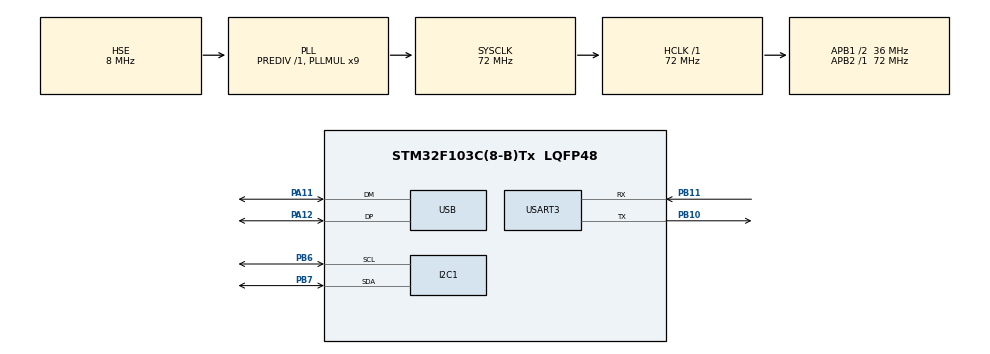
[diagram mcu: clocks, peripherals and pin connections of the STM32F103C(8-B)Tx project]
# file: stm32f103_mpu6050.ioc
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Mcu.Family=STM32F1
Mcu.Name=STM32F103C(8-B)Tx
Mcu.Package=LQFP48
NVIC.I2C1_ER_IRQn=true\:0\:0\:false\:false\:true\:true\:true\:true
NVIC.I2C1_EV_IRQn=true\:0\:0\:false\:false\:true\:true\:true\:true
NVIC.PriorityGroup=NVIC_PRIORITYGROUP_4
NVIC.TIM1_UP_IRQn=true\:0\:0\:false\:false\:true\:true\:true\:true
NVIC.USB_HP_CAN1_TX_IRQn=true\:0\:0\:false\:false\:true\:true\:true\:true
NVIC.USB_LP_CAN1_RX0_IRQn=true\:0\:0\:false\:false\:true\:false\:true\:true
PA11.Mode=Device
PA11.Signal=USB_DM
PA12.Mode=Device
PA12.Signal=USB_DP
PA13.Mode=Serial_Wire
PA13.Signal=SYS_JTMS-SWDIO
PA14.Mode=Serial_Wire
PA14.Signal=SYS_JTCK-SWCLK
PB10.Mode=Asynchronous
PB10.Signal=USART3_TX
PB11.Mode=Asynchronous
PB11.Signal=USART3_RX
PB6.Mode=I2C
PB6.Signal=I2C1_SCL
PB7.Mode=I2C
PB7.Signal=I2C1_SDA
PD0-OSC_IN.Mode=HSE-External-Oscillator
PD0-OSC_IN.Signal=RCC_OSC_IN
PD1-OSC_OUT.Mode=HSE-External-Oscillator
PD1-OSC_OUT.Signal=RCC_OSC_OUT
ProjectManager.HeapSize=0x200
ProjectManager.StackSize=0x400
ProjectManager.TargetToolchain=STM32CubeIDE
RCC.AHBFreq_Value=72000000
RCC.APB1CLKDivider=RCC_HCLK_DIV2
RCC.APB1Freq_Value=36000000
RCC.APB1TimFreq_Value=72000000
RCC.APB2Freq_Value=72000000
RCC.APB2TimFreq_Value=72000000
RCC.HCLKFreq_Value=72000000
RCC.PLLMUL=RCC_PLL_MUL9
RCC.SYSCLKFreq_VALUE=72000000
RCC.SYSCLKSource=RCC_SYSCLKSOURCE_PLLCLK
RCC.USBFreq_Value=48000000
RCC.USBPrescaler=RCC_USBCLKSOURCE_PLL_DIV1_5
USART3.VirtualMode=VM_ASYNC
USB_DEVICE.CLASS_NAME_FS=CDC
USB_DEVICE.VirtualMode=Cdc
USB_DEVICE.VirtualModeFS=Cdc_FS
VP_TIM1_VS_ClockSourceINT.Mode=Internal
VP_USB_DEVICE_VS_USB_DEVICE_CDC_FS.Mode=CDC_FS
board=custom

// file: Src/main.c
/* USER CODE BEGIN Header */
/**
  ******************************************************************************
  * @file           : main.c
  * @brief          : Main program body
  ******************************************************************************
  * @attention
  *
  * Copyright (c) 2023 STMicroelectronics.
  * All rights reserved.
  *
  * This software is licensed under terms that can be found in the LICENSE file
  * in the root directory of this software component.
  * If no LICENSE file comes with this software, it is provided AS-IS.
  *
  ******************************************************************************
  */
/* USER CODE END Header */
#include "main.h"
#include "usb_device.h"
#include "sd_hal_mpu6050.h"

I2C_HandleTypeDef hi2c1;

TIM_HandleTypeDef htim1;

UART_HandleTypeDef huart3;

void SystemClock_Config(void);
static void MX_GPIO_Init(void);
static void MX_I2C1_Init(void);
static void MX_TIM1_Init(void);
static void MX_USART3_UART_Init(void);

/* USER CODE BEGIN 0 */
SD_MPU6050 mpu1;
/* USER CODE END 0 */

int main(void)
{
  /* USER CODE BEGIN 1 */
	SD_MPU6050_Result result;

	uint8_t gonder[30];

  /* USER CODE END 1 */

  /* MCU Configuration--------------------------------------------------------*/

  /* Reset of all peripherals, Initializes the Flash interface and the Systick. */
  HAL_Init();

  /* Configure the system clock */
  SystemClock_Config();

  /* Initialize all configured peripherals */
  MX_GPIO_Init();
  MX_I2C1_Init();
  MX_USB_DEVICE_Init();
  MX_TIM1_Init();
  MX_USART3_UART_Init();
  /* USER CODE BEGIN 2 */
	//HAL_TIM_PWM_Start(&htim1,TIM_CHANNEL_1);
//HAL_Delay(3000);
		//CDC_Transmit_FS(gonder,sizeof(gonder));
  /* USER CODE END 2 */

  /* Infinite loop */
  /* USER CODE BEGIN WHILE */
  while (1)
  {
		float temp;
    result = SD_MPU6050_Init(&hi2c1,&mpu1,SD_MPU6050_Device_0,SD_MPU6050_Accelerometer_2G,SD_MPU6050_Gyroscope_250s);

		if(result == SD_MPU6050_Result_Ok)
		{
			HAL_Delay(50);
			/* USER CODE END WHILE */

			/* USER CODE BEGIN 3 */
			SD_MPU6050_ReadAccelerometer(&hi2c1,&mpu1);
			int16_t a_x = mpu1.Accelerometer_X;
			int16_t a_y = mpu1.Accelerometer_Y;
			int16_t a_z = mpu1.Accelerometer_Z;
			/* USER CODE END WHILE */
			sprintf((char *)gonder,"%d\t%d\t%d\n",a_x,a_y,a_z);
			//CDC_Transmit_FS(gonder,sizeof(gonder));
			HAL_UART_Transmit(&huart3, gonder, strlen((char *)gonder), 200);
			HAL_Delay(200);
			SD_MPU6050_ReadTemperature(&hi2c1,&mpu1);
			temp = mpu1.Temperature;
			sprintf((char *)gonder,"temp=%.2f\n",temp);
			HAL_UART_Transmit(&huart3, gonder, strlen((char *)gonder), 1000);
			//CDC_Transmit_FS(gonder,sizeof(gonder));
		}
    /* USER CODE BEGIN 3 */
  }
  /* USER CODE END 3 */
}

void SystemClock_Config(void)
{
  RCC_OscInitTypeDef RCC_OscInitStruct = {0};
  RCC_ClkInitTypeDef RCC_ClkInitStruct = {0};
  RCC_PeriphCLKInitTypeDef PeriphClkInit = {0};

  /** Initializes the RCC Oscillators according to the specified parameters
  * in the RCC_OscInitTypeDef structure.
  */
  RCC_OscInitStruct.OscillatorType = RCC_OSCILLATORTYPE_HSE;
  RCC_OscInitStruct.HSEState = RCC_HSE_ON;
  RCC_OscInitStruct.HSEPredivValue = RCC_HSE_PREDIV_DIV1;
  RCC_OscInitStruct.HSIState = RCC_HSI_ON;
  RCC_OscInitStruct.PLL.PLLState = RCC_PLL_ON;
  RCC_OscInitStruct.PLL.PLLSource = RCC_PLLSOURCE_HSE;
  RCC_OscInitStruct.PLL.PLLMUL = RCC_PLL_MUL9;
  if (HAL_RCC_OscConfig(&RCC_OscInitStruct) != HAL_OK)
  {
    Error_Handler();
  }

  /** Initializes the CPU, AHB and APB buses clocks
  */
  RCC_ClkInitStruct.ClockType = RCC_CLOCKTYPE_HCLK|RCC_CLOCKTYPE_SYSCLK
                              |RCC_CLOCKTYPE_PCLK1|RCC_CLOCKTYPE_PCLK2;
  RCC_ClkInitStruct.SYSCLKSource = RCC_SYSCLKSOURCE_PLLCLK;
  RCC_ClkInitStruct.AHBCLKDivider = RCC_SYSCLK_DIV1;
  RCC_ClkInitStruct.APB1CLKDivider = RCC_HCLK_DIV2;
  RCC_ClkInitStruct.APB2CLKDivider = RCC_HCLK_DIV1;

  if (HAL_RCC_ClockConfig(&RCC_ClkInitStruct, FLASH_LATENCY_2) != HAL_OK)
  {
    Error_Handler();
  }
  PeriphClkInit.PeriphClockSelection = RCC_PERIPHCLK_USB;
  PeriphClkInit.UsbClockSelection = RCC_USBCLKSOURCE_PLL_DIV1_5;
  if (HAL_RCCEx_PeriphCLKConfig(&PeriphClkInit) != HAL_OK)
  {
    Error_Handler();
  }
}

static void MX_I2C1_Init(void)
{

  hi2c1.Instance = I2C1;
  hi2c1.Init.ClockSpeed = 100000;
  hi2c1.Init.DutyCycle = I2C_DUTYCYCLE_2;
  hi2c1.Init.OwnAddress1 = 0;
  hi2c1.Init.AddressingMode = I2C_ADDRESSINGMODE_7BIT;
  hi2c1.Init.DualAddressMode = I2C_DUALADDRESS_DISABLE;
  hi2c1.Init.OwnAddress2 = 0;
  hi2c1.Init.GeneralCallMode = I2C_GENERALCALL_DISABLE;
  hi2c1.Init.NoStretchMode = I2C_NOSTRETCH_DISABLE;
  if (HAL_I2C_Init(&hi2c1) != HAL_OK)
  {
    Error_Handler();
  }

}

static void MX_TIM1_Init(void)
{

  TIM_ClockConfigTypeDef sClockSourceConfig = {0};
  TIM_MasterConfigTypeDef sMasterConfig = {0};

  htim1.Instance = TIM1;
  htim1.Init.Prescaler = 0;
  htim1.Init.CounterMode = TIM_COUNTERMODE_UP;
  htim1.Init.Period = 65535;
  htim1.Init.ClockDivision = TIM_CLOCKDIVISION_DIV1;
  htim1.Init.RepetitionCounter = 0;
  htim1.Init.AutoReloadPreload = TIM_AUTORELOAD_PRELOAD_DISABLE;
  if (HAL_TIM_Base_Init(&htim1) != HAL_OK)
  {
    Error_Handler();
  }
  sClockSourceConfig.ClockSource = TIM_CLOCKSOURCE_INTERNAL;
  if (HAL_TIM_ConfigClockSource(&htim1, &sClockSourceConfig) != HAL_OK)
  {
    Error_Handler();
  }
  sMasterConfig.MasterOutputTrigger = TIM_TRGO_RESET;
  sMasterConfig.MasterSlaveMode = TIM_MASTERSLAVEMODE_DISABLE;
  if (HAL_TIMEx_MasterConfigSynchronization(&htim1, &sMasterConfig) != HAL_OK)
  {
    Error_Handler();
  }

}

static void MX_USART3_UART_Init(void)
{

  huart3.Instance = USART3;
  huart3.Init.BaudRate = 115200;
  huart3.Init.WordLength = UART_WORDLENGTH_8B;
  huart3.Init.StopBits = UART_STOPBITS_1;
  huart3.Init.Parity = UART_PARITY_NONE;
  huart3.Init.Mode = UART_MODE_TX_RX;
  huart3.Init.HwFlowCtl = UART_HWCONTROL_NONE;
  huart3.Init.OverSampling = UART_OVERSAMPLING_16;
  if (HAL_UART_Init(&huart3) != HAL_OK)
  {
    Error_Handler();
  }

}

static void MX_GPIO_Init(void)
{

  /* GPIO Ports Clock Enable */
  __HAL_RCC_GPIOD_CLK_ENABLE();
  __HAL_RCC_GPIOB_CLK_ENABLE();
  __HAL_RCC_GPIOA_CLK_ENABLE();

}

void Error_Handler(void)
{
  __disable_irq();
  while (1)
  {
  }
}
